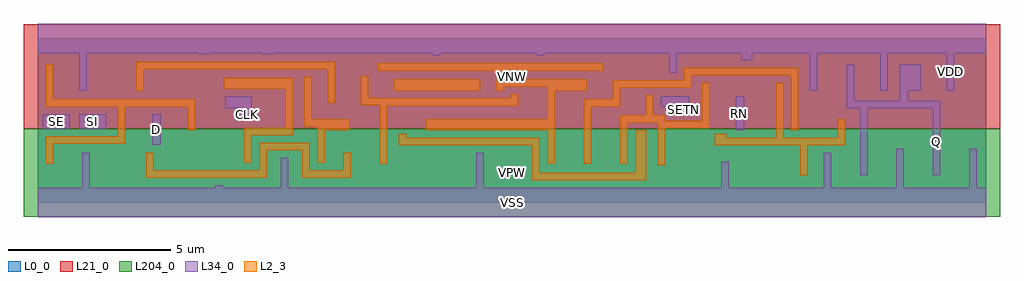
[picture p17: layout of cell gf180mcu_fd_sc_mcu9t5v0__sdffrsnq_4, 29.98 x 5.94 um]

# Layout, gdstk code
import gdstk
lib = gdstk.Library(unit=1e-6, precision=1e-09)
def R(c, l, rs):  # rectangles x0, y0, x1, y1
    for r in rs: c.add(gdstk.rectangle(r[:2], r[2:], *l))
L0_0 = (0, 0)
L2_3 = (2, 3)
L21_0 = (21, 0)
L34_0 = (34, 0)
L204_0 = (204, 0)

gf180mcu_fd_sc_mcu9t5v0_ = lib.new_cell('gf180mcu_fd_sc_mcu9t5v0__sdffrsnq_4')
R(gf180mcu_fd_sc_mcu9t5v0_, L0_0, [(0,0,29.12,5.04)])
R(gf180mcu_fd_sc_mcu9t5v0_, L2_3, [(15.18,0.68,18.68,0.91), (3.325,0.76,7.03,0.99), (8.12,0.76,9.61,0.99), (23.41,0.845,23.64,1.755), (15.18,0.91,15.41,1.765), (18.34,0.91,18.68,2.22), (3.325,0.99,3.555,1.535), (6.8,0.99,7.03,1.61), (8.12,0.99,8.35,1.61), (9.38,0.99,9.61,1.535), (19.03,1.145,19.26,2.28), (0.245,1.195,0.475,1.81), (10.5,1.195,10.73,2.98), (15.64,1.195,15.87,2.225), (16.76,1.195,16.99,2.945), (17.88,1.195,18.11,2.45), (6.34,1.22,6.57,2.07), (8.58,1.22,8.81,2.215), (6.8,1.61,8.35,1.84), (20.795,1.755,24.8,1.985), (11.08,1.765,15.41,1.995), (0.245,1.81,2.675,2.04), (20.795,1.985,21.135,2.11), (22.67,1.985,22.9,3.685), (24.57,1.985,24.8,2.555), (11.08,1.995,11.31,2.115), (2.445,2.04,2.675,2.94), (6.34,2.07,7.83,2.3), (4.605,2.215,4.835,2.94), (8.58,2.215,9.57,2.325), (23.13,2.215,23.36,3.915), (11.92,2.225,15.87,2.565), (19.03,2.28,20.64,2.45), (7.6,2.3,7.83,3.5), (8.18,2.325,9.57,2.555), (17.88,2.45,20.64,2.51), (17.88,2.51,19.255,2.68), (20.41,2.51,20.64,3.685), (8.18,2.555,8.41,3.87), (15.64,2.565,15.87,3.44), (18.67,2.68,18.9,3.295), (0.245,2.94,4.835,3.17), (16.76,2.945,17.88,3.175), (10.5,2.98,14.75,2.985), (9.92,2.985,14.75,3.21), (8.9,3.065,9.13,4.1), (0.245,3.17,0.475,4.25), (17.65,3.175,17.88,3.525), (9.92,3.21,10.55,3.215), (14.52,3.21,14.75,3.32), (9.92,3.215,10.15,3.875), (3.025,3.44,3.255,4.1), (10.94,3.44,13.59,3.78), (14.08,3.44,14.31,3.55), (15.64,3.44,16.86,3.55), (5.7,3.5,7.83,3.84), (17.65,3.525,20.08,3.755), (14.08,3.55,16.86,3.78), (19.85,3.755,20.08,3.915), (19.85,3.915,23.36,4.145), (10.445,4.05,17.355,4.28), (3.025,4.1,9.13,4.33)])
R(gf180mcu_fd_sc_mcu9t5v0_, L21_0, [(-0.43,2.265,29.55,5.47)])
R(gf180mcu_fd_sc_mcu9t5v0_, L34_0, [(0,-0.45,29.12,0.45), (1.365,0.45,1.595,1.535), (5.445,0.45,5.675,0.53), (7.46,0.45,7.69,1.38), (13.46,0.45,13.69,1.535), (20.99,0.45,21.22,1.255), (24.13,0.45,24.36,1.525), (26.37,0.45,26.6,1.65), (28.61,0.45,28.84,1.65), (25.25,0.845,25.48,2.89), (27.49,0.845,27.72,2.89), (3.51,1.77,3.77,2.71), (21.43,2.215,21.69,3.27), (0.15,2.27,0.97,2.71), (1.27,2.27,2.09,2.71), (6.28,2.53,6.57,2.89), (19.655,2.74,20.01,2.95), (5.75,2.89,6.57,3.27), (24.85,2.89,27.72,3.12), (19.13,2.95,20.01,3.27), (24.85,3.12,25.08,4.25), (26.47,3.12,26.73,3.44), (1.265,3.44,1.495,4.59), (23.71,3.44,23.94,4.59), (25.87,3.44,26.1,4.59), (26.47,3.44,27.12,4.25), (27.91,3.44,28.14,4.59), (19.39,3.985,19.62,4.59), (21.595,4.375,21.935,4.59), (12.12,4.51,12.35,4.59), (15.32,4.51,15.55,4.59), (4.95,4.56,5.29,4.59), (6.885,4.56,7.225,4.59), (0,4.59,29.12,5.49)])
R(gf180mcu_fd_sc_mcu9t5v0_, L204_0, [(-0.43,-0.43,29.55,2.265)])
gf180mcu_fd_sc_mcu9t5v0_.add(gdstk.Label('D', (3.64,2.24), layer=34, texttype=10))
gf180mcu_fd_sc_mcu9t5v0_.add(gdstk.Label('RN', (21.56,2.742), layer=34, texttype=10))
gf180mcu_fd_sc_mcu9t5v0_.add(gdstk.Label('SE', (0.56,2.49), layer=34, texttype=10))
gf180mcu_fd_sc_mcu9t5v0_.add(gdstk.Label('SETN', (19.832,2.845), layer=34, texttype=10))
gf180mcu_fd_sc_mcu9t5v0_.add(gdstk.Label('SI', (1.68,2.49), layer=34, texttype=10))
gf180mcu_fd_sc_mcu9t5v0_.add(gdstk.Label('CLK', (6.425,2.71), layer=34, texttype=10))
gf180mcu_fd_sc_mcu9t5v0_.add(gdstk.Label('Q', (27.605,1.867), layer=34, texttype=10))
gf180mcu_fd_sc_mcu9t5v0_.add(gdstk.Label('VDD', (28.025,4.015), layer=34, texttype=10))
gf180mcu_fd_sc_mcu9t5v0_.add(gdstk.Label('VSS', (14.56,0), layer=34, texttype=10))
gf180mcu_fd_sc_mcu9t5v0_.add(gdstk.Label('VNW', (14.56,3.867), layer=3, texttype=1))
gf180mcu_fd_sc_mcu9t5v0_.add(gdstk.Label('VPW', (14.56,0.917), layer=4, texttype=1))

lib.write_gds('gf180mcu_fd_sc_mcu9t5v0__sdffrsnq_4.gds')
